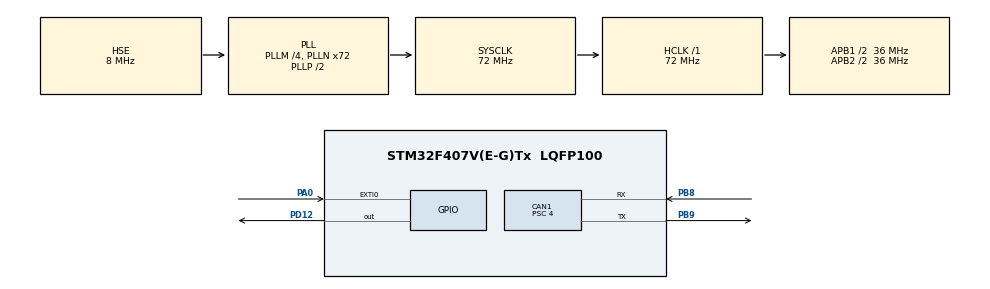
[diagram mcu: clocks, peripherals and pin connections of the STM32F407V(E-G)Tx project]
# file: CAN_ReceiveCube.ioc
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CAN1.BS1=CAN_BS1_15TQ
CAN1.BS2=CAN_BS2_2TQ
CAN1.CalculateBaudRate=500000
CAN1.CalculateTimeBit=1999.99
CAN1.CalculateTimeQuantum=111.11111111111111
CAN1.Prescaler=4
Mcu.Family=STM32F4
Mcu.Name=STM32F407V(E-G)Tx
Mcu.Package=LQFP100
NVIC.CAN1_RX0_IRQn=true\:0\:2\:false\:false\:true\:true\:true
NVIC.EXTI0_IRQn=true\:0\:1\:false\:false\:true\:true\:true
NVIC.PriorityGroup=NVIC_PRIORITYGROUP_0
NVIC.TIM1_UP_TIM10_IRQn=true\:0\:0\:false\:false\:true\:false\:true
NVIC.TimeBase=TIM1_UP_TIM10_IRQn
NVIC.TimeBaseIP=TIM1
PA0-WKUP.Signal=GPXTI0
PA13.Mode=Serial_Wire
PA13.Signal=SYS_JTMS-SWDIO
PA14.Mode=Serial_Wire
PA14.Signal=SYS_JTCK-SWCLK
PB8.Mode=CAN_Activate
PB8.Signal=CAN1_RX
PB9.Mode=CAN_Activate
PB9.Signal=CAN1_TX
PD12.Signal=GPIO_Output
PH0-OSC_IN.Mode=HSE-External-Oscillator
PH0-OSC_IN.Signal=RCC_OSC_IN
PH1-OSC_OUT.Mode=HSE-External-Oscillator
PH1-OSC_OUT.Signal=RCC_OSC_OUT
ProjectManager.HeapSize=0x200
ProjectManager.StackSize=0x400
ProjectManager.TargetToolchain=STM32CubeIDE
RCC.48MHZClocksFreq_Value=48000000
RCC.AHBFreq_Value=72000000
RCC.APB1CLKDivider=RCC_HCLK_DIV2
RCC.APB1Freq_Value=36000000
RCC.APB1TimFreq_Value=72000000
RCC.APB2CLKDivider=RCC_HCLK_DIV2
RCC.APB2Freq_Value=36000000
RCC.APB2TimFreq_Value=72000000
RCC.CortexFreq_Value=72000000
RCC.HCLKFreq_Value=72000000
RCC.HSE_VALUE=8000000
RCC.HSI_VALUE=16000000
RCC.PLLI2SN=50
RCC.PLLM=4
RCC.PLLN=72
RCC.PLLQ=3
RCC.PLLSourceVirtual=RCC_PLLSOURCE_HSE
RCC.SYSCLKFreq_VALUE=72000000
RCC.SYSCLKSource=RCC_SYSCLKSOURCE_PLLCLK
RCC.VCOOutputFreq_Value=144000000
VP_SYS_VS_tim1.Mode=TIM1
board=STM32F407G-DISC1

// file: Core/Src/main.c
/* USER CODE BEGIN Header */
/* USER CODE END Header */
#include "main.h"
#include <stdio.h>

CAN_HandleTypeDef hcan1;

void SystemClock_Config(void);
static void MX_GPIO_Init(void);
static void MX_CAN1_Init(void);

/* USER CODE BEGIN 0 */
CAN_TxHeaderTypeDef TxHeader;
CAN_RxHeaderTypeDef RxHeader;

uint32_t TxMailbox;

uint8_t TxData[8];
uint8_t RxData[8];

int datacheck = 0;

void HAL_CAN_RxFifo0MsgPendingCallback(CAN_HandleTypeDef *hcan1)
{
	HAL_CAN_GetRxMessage(hcan1, CAN_RX_FIFO0, &RxHeader, RxData);
	if (RxHeader.DLC == 8)
	{
		datacheck = 1;
	}
}

void HAL_GPIO_EXTI_Callback(uint16_t GPIO_Pin)
{
	if (GPIO_Pin == GPIO_PIN_0)
	{
		 TxData[0] = 100;   // ms Delay
					  	 				TxData[1] = 40;    // loop rep
					  	 				TxData[2] = 100;   // ms Delay
					  	 				TxData[3] = 40;    // loop rep
		HAL_CAN_AddTxMessage(&hcan1, &TxHeader, TxData, &TxMailbox);
	}
}
/* USER CODE END 0 */

int main(void)
{

  /* MCU Configuration--------------------------------------------------------*/

  /* Reset of all peripherals, Initializes the Flash interface and the Systick. */
  HAL_Init();

  /* Configure the system clock */
  SystemClock_Config();

  /* Initialize all configured peripherals */
  MX_GPIO_Init();
  MX_CAN1_Init();
  /* USER CODE BEGIN 2 */
HAL_CAN_Start(&hcan1);
HAL_CAN_ActivateNotification(&hcan1, CAN_IT_RX_FIFO0_MSG_PENDING);

  TxHeader.DLC = 8;
  TxHeader.ExtId = 0x1FFFFFFF;
  TxHeader.IDE = CAN_ID_EXT;
  TxHeader.RTR = CAN_RTR_DATA;
  TxHeader.StdId = 0x0;
  TxHeader.TransmitGlobalTime = DISABLE;

    /* USER CODE END 2 */

  /* Infinite loop */
  /* USER CODE BEGIN WHILE */
while(1)
{
	 if (datacheck)
		  {
			  // blink the LED
			  for (int i=0; i<RxData[1]; i++)
			  {
				  HAL_GPIO_TogglePin(GPIOD, GPIO_PIN_12);
				  HAL_Delay(RxData[0]);
			  }

			  datacheck = 0;

			                    TxData[0] = 100;   // ms Delay
			  	 				TxData[1] = 40;    // loop rep
			  	 				TxData[2] = 100;   // ms Delay
			  	 				TxData[3] = 40;    // loop rep
				HAL_CAN_AddTxMessage(&hcan1, &TxHeader, TxData, &TxMailbox);
		  }
}
    /* USER CODE END WHILE */

}

void SystemClock_Config(void)
{
  RCC_OscInitTypeDef RCC_OscInitStruct = {0};
  RCC_ClkInitTypeDef RCC_ClkInitStruct = {0};

  /** Configure the main internal regulator output voltage
  */
  __HAL_RCC_PWR_CLK_ENABLE();
  __HAL_PWR_VOLTAGESCALING_CONFIG(PWR_REGULATOR_VOLTAGE_SCALE1);
  /** Initializes the RCC Oscillators according to the specified parameters
  * in the RCC_OscInitTypeDef structure.
  */
  RCC_OscInitStruct.OscillatorType = RCC_OSCILLATORTYPE_HSE;
  RCC_OscInitStruct.HSEState = RCC_HSE_ON;
  RCC_OscInitStruct.PLL.PLLState = RCC_PLL_ON;
  RCC_OscInitStruct.PLL.PLLSource = RCC_PLLSOURCE_HSE;
  RCC_OscInitStruct.PLL.PLLM = 4;
  RCC_OscInitStruct.PLL.PLLN = 72;
  RCC_OscInitStruct.PLL.PLLP = RCC_PLLP_DIV2;
  RCC_OscInitStruct.PLL.PLLQ = 3;
  if (HAL_RCC_OscConfig(&RCC_OscInitStruct) != HAL_OK)
  {
    Error_Handler();
  }
  /** Initializes the CPU, AHB and APB buses clocks
  */
  RCC_ClkInitStruct.ClockType = RCC_CLOCKTYPE_HCLK|RCC_CLOCKTYPE_SYSCLK
                              |RCC_CLOCKTYPE_PCLK1|RCC_CLOCKTYPE_PCLK2;
  RCC_ClkInitStruct.SYSCLKSource = RCC_SYSCLKSOURCE_PLLCLK;
  RCC_ClkInitStruct.AHBCLKDivider = RCC_SYSCLK_DIV1;
  RCC_ClkInitStruct.APB1CLKDivider = RCC_HCLK_DIV2;
  RCC_ClkInitStruct.APB2CLKDivider = RCC_HCLK_DIV2;

  if (HAL_RCC_ClockConfig(&RCC_ClkInitStruct, FLASH_LATENCY_2) != HAL_OK)
  {
    Error_Handler();
  }
}

static void MX_CAN1_Init(void)
{

  hcan1.Instance = CAN1;
  hcan1.Init.Prescaler = 4;
  hcan1.Init.Mode =CAN_MODE_NORMAL;
  hcan1.Init.SyncJumpWidth = CAN_SJW_1TQ;
  hcan1.Init.TimeSeg1 = CAN_BS1_15TQ;
  hcan1.Init.TimeSeg2 = CAN_BS2_2TQ;
  hcan1.Init.TimeTriggeredMode = DISABLE;
  hcan1.Init.AutoBusOff = DISABLE;
  hcan1.Init.AutoWakeUp = DISABLE;
  hcan1.Init.AutoRetransmission = DISABLE;
  hcan1.Init.ReceiveFifoLocked = DISABLE;
  hcan1.Init.TransmitFifoPriority = DISABLE;
  if (HAL_CAN_Init(&hcan1) != HAL_OK)
  {
    Error_Handler();
  }
  /* USER CODE BEGIN CAN1_Init 2 */
  CAN_FilterTypeDef canfilterconfig;
  canfilterconfig.FilterActivation = CAN_FILTER_ENABLE;
    canfilterconfig.FilterBank = 10;  // anything between 0 to SlaveStartFilterBank
    canfilterconfig.FilterFIFOAssignment = CAN_RX_FIFO0;
    canfilterconfig.FilterIdHigh = 0x0<<5;
    canfilterconfig.FilterIdLow = 0x65a<<3;
    canfilterconfig.FilterMaskIdHigh = 0x0<<5;
    canfilterconfig.FilterMaskIdLow = 0x65a<<3;
    canfilterconfig.FilterMode = CAN_FILTERMODE_IDMASK;
    canfilterconfig.FilterScale = CAN_FILTERSCALE_32BIT;
    canfilterconfig.SlaveStartFilterBank = 13;  // 13 to 27 are assigned to slave CAN (CAN 2) OR 0 to 12 are assgned to CAN1

    HAL_CAN_ConfigFilter(&hcan1, &canfilterconfig);

  /* USER CODE END CAN1_Init 2 */

}

static void MX_GPIO_Init(void)
{
  GPIO_InitTypeDef GPIO_InitStruct = {0};

  /* GPIO Ports Clock Enable */
  __HAL_RCC_GPIOH_CLK_ENABLE();
  __HAL_RCC_GPIOA_CLK_ENABLE();
  __HAL_RCC_GPIOD_CLK_ENABLE();
  __HAL_RCC_GPIOB_CLK_ENABLE();

  /*Configure GPIO pin Output Level */
  HAL_GPIO_WritePin(GPIOD, GPIO_PIN_12, GPIO_PIN_RESET);

  /*Configure GPIO pin : PA0 */
  GPIO_InitStruct.Pin = GPIO_PIN_0;
  GPIO_InitStruct.Mode = GPIO_MODE_IT_RISING;
  GPIO_InitStruct.Pull = GPIO_NOPULL;
  HAL_GPIO_Init(GPIOA, &GPIO_InitStruct);

  /*Configure GPIO pin : PD12 */
  GPIO_InitStruct.Pin = GPIO_PIN_12;
  GPIO_InitStruct.Mode = GPIO_MODE_OUTPUT_PP;
  GPIO_InitStruct.Pull = GPIO_NOPULL;
  GPIO_InitStruct.Speed = GPIO_SPEED_FREQ_LOW;
  HAL_GPIO_Init(GPIOD, &GPIO_InitStruct);

  /* EXTI interrupt init*/
  HAL_NVIC_SetPriority(EXTI0_IRQn, 0, 1);
  HAL_NVIC_EnableIRQ(EXTI0_IRQn);

}

/* USER CODE BEGIN 4 */

//HAL_GPIO_WritePin(GPIOD, GPIO_PIN_12, GPIO_PIN_SET);

/* USER CODE END 4 */

void HAL_TIM_PeriodElapsedCallback(TIM_HandleTypeDef *htim)
{
  if (htim->Instance == TIM1) {
    HAL_IncTick();
  }
}

void Error_Handler(void)
{
}

/************************ (C) COPYRIGHT STMicroelectronics *****END OF FILE****/
